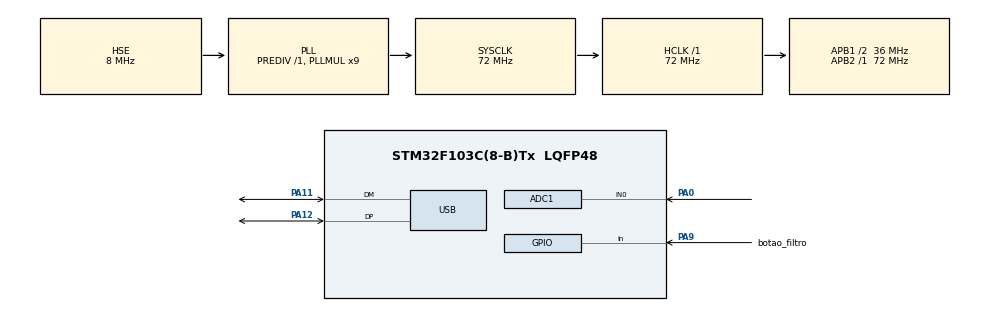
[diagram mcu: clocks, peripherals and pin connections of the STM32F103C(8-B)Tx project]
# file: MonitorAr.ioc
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ADC1.Channel-1\#ChannelRegularConversion=ADC_CHANNEL_0
ADC1.EnableRegularConversion=ENABLE
ADC1.NbrOfConversion=1
ADC1.NbrOfConversionFlag=1
ADC1.Rank-1\#ChannelRegularConversion=1
ADC1.SamplingTime-1\#ChannelRegularConversion=ADC_SAMPLETIME_55CYCLES_5
ADC1.master=1
Mcu.Family=STM32F1
Mcu.Name=STM32F103C(8-B)Tx
Mcu.Package=LQFP48
NVIC.PriorityGroup=NVIC_PRIORITYGROUP_4
NVIC.USB_LP_CAN1_RX0_IRQn=true\:0\:0\:false\:false\:true\:false\:true
PA0-WKUP.Signal=ADCx_IN0
PA11.Mode=Device
PA11.Signal=USB_DM
PA12.Mode=Device
PA12.Signal=USB_DP
PA13.Mode=Serial_Wire
PA13.Signal=SYS_JTMS-SWDIO
PA14.Mode=Serial_Wire
PA14.Signal=SYS_JTCK-SWCLK
PA9.GPIO_Label=botao_filtro
PA9.GPIO_PuPd=GPIO_PULLUP
PA9.Signal=GPIO_Input
PD0-OSC_IN.Mode=HSE-External-Oscillator
PD0-OSC_IN.Signal=RCC_OSC_IN
PD1-OSC_OUT.Mode=HSE-External-Oscillator
PD1-OSC_OUT.Signal=RCC_OSC_OUT
ProjectManager.HeapSize=0x200
ProjectManager.StackSize=0x400
ProjectManager.TargetToolchain=STM32CubeIDE
RCC.ADCPresc=RCC_ADCPCLK2_DIV6
RCC.AHBFreq_Value=72000000
RCC.APB1CLKDivider=RCC_HCLK_DIV2
RCC.APB1Freq_Value=36000000
RCC.APB1TimFreq_Value=72000000
RCC.APB2Freq_Value=72000000
RCC.APB2TimFreq_Value=72000000
RCC.HCLKFreq_Value=72000000
RCC.PLLMUL=RCC_PLL_MUL9
RCC.PLLSourceVirtual=RCC_PLLSOURCE_HSE
RCC.SYSCLKFreq_VALUE=72000000
RCC.SYSCLKSource=RCC_SYSCLKSOURCE_PLLCLK
RCC.USBFreq_Value=48000000
RCC.USBPrescaler=RCC_USBCLKSOURCE_PLL_DIV1_5
SH.ADCx_IN0.0=ADC1_IN0,IN0
USB_DEVICE.CLASS_NAME_FS=CDC
USB_DEVICE.VirtualMode=Cdc
USB_DEVICE.VirtualModeFS=Cdc_FS
VP_USB_DEVICE_VS_USB_DEVICE_CDC_FS.Mode=CDC_FS
board=custom

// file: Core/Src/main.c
/* USER CODE BEGIN Header */
/**
  ******************************************************************************
  * @file           : main.c
  * @brief          : Main program body
  ******************************************************************************
  * @attention
  *
  * <h2><center>&copy; Copyright (c) 2026 STMicroelectronics.
  * All rights reserved.</center></h2>
  *
  * This software component is licensed by ST under BSD 3-Clause license,
  * the "License"; You may not use this file except in compliance with the
  * License. You may obtain a copy of the License at:
  *                        opensource.org/licenses/BSD-3-Clause
  *
  ******************************************************************************
  */
/* USER CODE END Header */
#include "main.h"
#include "usb_device.h"

/* USER CODE BEGIN Includes */
#include "usbd_cdc_if.h"
/* USER CODE END Includes */

/* USER CODE BEGIN PD */

/* ==========================================================
 * PROTOCOLO PROPRIETÁRIO
 * Formato:
 * AA 01 02 FILTRO ADC_H ADC_L CHECKSUM CC
 * ========================================================== */

#define BYTE_START           0xAA
#define VERSAO_PROTOCOLO     0x01
#define TIPO_LEITURA_SENSOR  0x02
#define BYTE_FIM             0xCC

#define TAMANHO_PACOTE       8

#define ADC_MIN              0
#define ADC_MAX              4095

#define TAMANHO_JANELA_MEDIA 5

#define CLICK_BOTAO			HAL_GPIO_ReadPin(botao_filtro_GPIO_Port, botao_filtro_Pin)
/* USER CODE END PD */

ADC_HandleTypeDef hadc1;

/* USER CODE BEGIN PV */

/* ==========================================================
 * BUFFER DA MÉDIA MÓVEL
 * ========================================================== */

static uint16_t buffer_media[TAMANHO_JANELA_MEDIA] = {0};
static uint8_t indice_buffer = 0;
static uint8_t buffer_cheio = 0;

/* USER CODE END PV */

void SystemClock_Config(void);
static void MX_GPIO_Init(void);
static void MX_ADC1_Init(void);
/* USER CODE BEGIN PFP */
void MontarPacote(uint16_t valor_adc, uint8_t filtro_ativo, uint8_t *pacote);
void AdicionarAmostra(uint16_t nova_amostra);
uint16_t CalcularMediaMovel(void);
uint8_t LerBotao(void);
uint8_t CalcularChecksum(uint8_t versao, uint8_t tipo, uint8_t filtro, uint8_t adc_alto, uint8_t adc_baixo);

/* USER CODE END PFP */

int main(void)
{

  /* MCU Configuration--------------------------------------------------------*/

  /* Reset of all peripherals, Initializes the Flash interface and the Systick. */
  HAL_Init();

  /* Configure the system clock */
  SystemClock_Config();

  /* Initialize all configured peripherals */
  MX_GPIO_Init();
  MX_ADC1_Init();
  MX_USB_DEVICE_Init();
  /* USER CODE BEGIN 2 */

  /* Estado do filtro */
  uint8_t filtro_ativo = 0;

  /* Pacote que será enviado */
  uint8_t pacote[TAMANHO_PACOTE];

  /* USER CODE END 2 */

  /* Infinite loop */
  /* USER CODE BEGIN WHILE */
  while (1)
  {

	  /* ==================================================
	       * 1. VERIFICA SE HOUVE UM CLIQUE
	       * ================================================== */

	      if (LerBotao())
	      {
	          filtro_ativo = !filtro_ativo;
	      }

	      /* ==================================================
	       * 2. FAZ LEITURA DO ADC
	       * ================================================== */

	      HAL_ADC_Start(&hadc1);

	      if (HAL_ADC_PollForConversion(&hadc1, 10) == HAL_OK)
	      {
	          uint16_t leitura_bruta =
	              (uint16_t)HAL_ADC_GetValue(&hadc1);

	          /* ==============================================
	           * 3. GUARDA A AMOSTRA
	           * ============================================== */

	          AdicionarAmostra(leitura_bruta);

	          /* ==============================================
	           * 4. ESCOLHE O VALOR QUE SERÁ ENVIADO
	           * ============================================== */

	          uint16_t valor_final;

	          if (filtro_ativo)
	          {
	              valor_final = CalcularMediaMovel();
	          }
	          else
	          {
	              valor_final = leitura_bruta;
	          }

	          /* ==============================================
	           * 5. MONTA O PACOTE
	           * ============================================== */

	          MontarPacote(
	              valor_final,
	              filtro_ativo,
	              pacote
	          );

	          /* ==============================================
	           * 6. ENVIA PELA USB CDC
	           * ============================================== */

	          CDC_Transmit_FS(
	              pacote,
	              TAMANHO_PACOTE
	          );
	      }

	      /* Envia aproximadamente 1 pacote por segundo */
	      HAL_Delay(1000);

    /* USER CODE END WHILE */

  }
}

void SystemClock_Config(void)
{
  RCC_OscInitTypeDef RCC_OscInitStruct = {0};
  RCC_ClkInitTypeDef RCC_ClkInitStruct = {0};
  RCC_PeriphCLKInitTypeDef PeriphClkInit = {0};

  /** Initializes the RCC Oscillators according to the specified parameters
  * in the RCC_OscInitTypeDef structure.
  */
  RCC_OscInitStruct.OscillatorType = RCC_OSCILLATORTYPE_HSE;
  RCC_OscInitStruct.HSEState = RCC_HSE_ON;
  RCC_OscInitStruct.HSEPredivValue = RCC_HSE_PREDIV_DIV1;
  RCC_OscInitStruct.HSIState = RCC_HSI_ON;
  RCC_OscInitStruct.PLL.PLLState = RCC_PLL_ON;
  RCC_OscInitStruct.PLL.PLLSource = RCC_PLLSOURCE_HSE;
  RCC_OscInitStruct.PLL.PLLMUL = RCC_PLL_MUL9;
  if (HAL_RCC_OscConfig(&RCC_OscInitStruct) != HAL_OK)
  {
    Error_Handler();
  }
  /** Initializes the CPU, AHB and APB buses clocks
  */
  RCC_ClkInitStruct.ClockType = RCC_CLOCKTYPE_HCLK|RCC_CLOCKTYPE_SYSCLK
                              |RCC_CLOCKTYPE_PCLK1|RCC_CLOCKTYPE_PCLK2;
  RCC_ClkInitStruct.SYSCLKSource = RCC_SYSCLKSOURCE_PLLCLK;
  RCC_ClkInitStruct.AHBCLKDivider = RCC_SYSCLK_DIV1;
  RCC_ClkInitStruct.APB1CLKDivider = RCC_HCLK_DIV2;
  RCC_ClkInitStruct.APB2CLKDivider = RCC_HCLK_DIV1;

  if (HAL_RCC_ClockConfig(&RCC_ClkInitStruct, FLASH_LATENCY_2) != HAL_OK)
  {
    Error_Handler();
  }
  PeriphClkInit.PeriphClockSelection = RCC_PERIPHCLK_ADC|RCC_PERIPHCLK_USB;
  PeriphClkInit.AdcClockSelection = RCC_ADCPCLK2_DIV6;
  PeriphClkInit.UsbClockSelection = RCC_USBCLKSOURCE_PLL_DIV1_5;
  if (HAL_RCCEx_PeriphCLKConfig(&PeriphClkInit) != HAL_OK)
  {
    Error_Handler();
  }
}

static void MX_ADC1_Init(void)
{

  ADC_ChannelConfTypeDef sConfig = {0};

  /** Common config
  */
  hadc1.Instance = ADC1;
  hadc1.Init.ScanConvMode = ADC_SCAN_DISABLE;
  hadc1.Init.ContinuousConvMode = DISABLE;
  hadc1.Init.DiscontinuousConvMode = DISABLE;
  hadc1.Init.ExternalTrigConv = ADC_SOFTWARE_START;
  hadc1.Init.DataAlign = ADC_DATAALIGN_RIGHT;
  hadc1.Init.NbrOfConversion = 1;
  if (HAL_ADC_Init(&hadc1) != HAL_OK)
  {
    Error_Handler();
  }
  /** Configure Regular Channel
  */
  sConfig.Channel = ADC_CHANNEL_0;
  sConfig.Rank = ADC_REGULAR_RANK_1;
  sConfig.SamplingTime = ADC_SAMPLETIME_55CYCLES_5;
  if (HAL_ADC_ConfigChannel(&hadc1, &sConfig) != HAL_OK)
  {
    Error_Handler();
  }

}

static void MX_GPIO_Init(void)
{
  GPIO_InitTypeDef GPIO_InitStruct = {0};

  /* GPIO Ports Clock Enable */
  __HAL_RCC_GPIOD_CLK_ENABLE();
  __HAL_RCC_GPIOA_CLK_ENABLE();

  /*Configure GPIO pin : botao_filtro_Pin */
  GPIO_InitStruct.Pin = botao_filtro_Pin;
  GPIO_InitStruct.Mode = GPIO_MODE_INPUT;
  GPIO_InitStruct.Pull = GPIO_PULLUP;
  HAL_GPIO_Init(botao_filtro_GPIO_Port, &GPIO_InitStruct);

}

/* USER CODE BEGIN 4 */

/* ==========================================================
 * CHECKSUM
 * ========================================================== */

uint8_t CalcularChecksum(uint8_t versao,
                         uint8_t tipo,
                         uint8_t filtro,
                         uint8_t adc_alto,
                         uint8_t adc_baixo)
{
    uint16_t soma = versao + tipo + filtro + adc_alto + adc_baixo;

    return (uint8_t)(soma & 0xFF);
}

/* ==========================================================
 * MONTA O PACOTE
 *
 * AA 01 02 FILTRO ADC_H ADC_L CHECKSUM CC
 * ========================================================== */

void MontarPacote(uint16_t valor_adc,
                  uint8_t filtro_ativo,
                  uint8_t *pacote)
{
    if (valor_adc > ADC_MAX)
    {
        valor_adc = ADC_MAX;
    }

    uint8_t adc_alto = (uint8_t)((valor_adc >> 8) & 0xFF);
    uint8_t adc_baixo = (uint8_t)(valor_adc & 0xFF);

    uint8_t filtro_byte = filtro_ativo ? 0x01 : 0x00;

    uint8_t checksum = CalcularChecksum(
        VERSAO_PROTOCOLO,
        TIPO_LEITURA_SENSOR,
        filtro_byte,
        adc_alto,
        adc_baixo
    );

    pacote[0] = BYTE_START;
    pacote[1] = VERSAO_PROTOCOLO;
    pacote[2] = TIPO_LEITURA_SENSOR;
    pacote[3] = filtro_byte;
    pacote[4] = adc_alto;
    pacote[5] = adc_baixo;
    pacote[6] = checksum;
    pacote[7] = BYTE_FIM;
}

/* ==========================================================
 * ADICIONA AMOSTRA AO BUFFER
 * ========================================================== */

void AdicionarAmostra(uint16_t nova_amostra)
{
    buffer_media[indice_buffer] = nova_amostra;

    indice_buffer++;

    if (indice_buffer >= TAMANHO_JANELA_MEDIA)
    {
        indice_buffer = 0;
        buffer_cheio = 1;
    }
}

/* ==========================================================
 * CALCULA MÉDIA MÓVEL
 * ========================================================== */

uint16_t CalcularMediaMovel(void)
{
    uint32_t soma = 0;

    uint8_t quantidade =
        buffer_cheio ? TAMANHO_JANELA_MEDIA : indice_buffer;

    if (quantidade == 0)
    {
        return 0;
    }

    for (uint8_t i = 0; i < quantidade; i++)
    {
        soma += buffer_media[i];
    }

    return (uint16_t)(soma / quantidade);
}

/* ==========================================================
 * BOTÃO
 *
 * Pull-up:
 *
 * solto      = 1
 * pressionado = 0
 *
 * A função retorna 1 SOMENTE quando detecta um novo clique.
 * ========================================================== */

uint8_t LerBotao(void)
{
    if (CLICK_BOTAO == GPIO_PIN_RESET)
    {
        HAL_Delay(30);

        if (CLICK_BOTAO == GPIO_PIN_RESET)
        {
            /* Espera o botão ser solto */
            while (CLICK_BOTAO == GPIO_PIN_RESET)
            {
            }

            return 1;
        }
    }

    return 0;
}

/* USER CODE END 4 */

void Error_Handler(void)
{
  __disable_irq();
  while (1)
  {
  }
}

/************************ (C) COPYRIGHT STMicroelectronics *****END OF FILE****/
